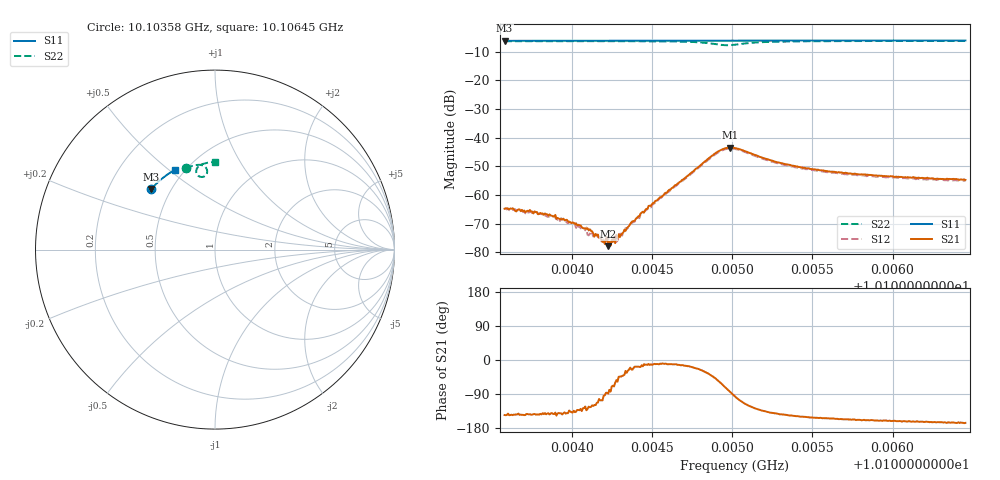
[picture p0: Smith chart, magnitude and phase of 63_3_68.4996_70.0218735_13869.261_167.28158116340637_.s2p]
#  HZ  S  RI  R  50.00
! Rohde & Schwarz Vector Network Analyzer
! Rohde-Schwarz,ZNB20-2Port,1311601062101988,3.16
! Created: UTC 3/20/2024, 4:51:20 PM
! freq[Hz]  re:S11  im:S11  re:S21  im:S21  re:S12  im:S12  re:S22  im:S22
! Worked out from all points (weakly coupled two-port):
!   401 points, 10.10358 GHz to 10.10645 GHz, reference 50 ohm
!   highest |S21| = -43.41 dB at 10.10499 GHz (marker M1); lowest = -77.8 dB at 10.10423 GHz (marker M2)
!   lowest |S11| = -6.2 dB at 10.10358 GHz (marker M3), VSWR 2.92, Z = 19.5 + j17.3 ohm
!   |S11| at or under -10 dB: nowhere
!   |S22| runs from -7.7 to -6.2 dB; largest |S21 - S12| = 0.00067
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1.0103583e10  -0.3556 0.3373  -0.000476 -0.000331  -0.000451 -0.000386  -0.1622 0.4543
1.010374e10  -0.3492 0.3445  -0.00044 -0.000331  -0.000395 -0.000324  -0.1519 0.4583
1.0103805e10  -0.3464 0.3474  -0.000386 -0.0003  -0.000343 -0.000329  -0.1477 0.4598
1.0103848e10  -0.3447 0.3494  -0.000361 -0.000289  -0.000302 -0.00029  -0.1446 0.4609
1.0103949e10  -0.3405 0.3539  -0.0003 -0.000248  -0.00026 -0.00028  -0.1379 0.4632
1.0104064e10  -0.3357 0.3588  -0.000194 -0.000196  -0.000161 -0.000221  -0.1296 0.4656
1.0104114e10  -0.3335 0.3612  -0.000144 -0.000209  -0.0001 -0.000186  -0.126 0.4666
1.0104164e10  -0.3313 0.3634  -7.77e-05 -0.00019  -5.33e-05 -0.000177  -0.1222 0.4676
1.01042e10  -0.3298 0.3648  -1.16e-05 -0.000162  2.89e-06 -0.000169  -0.1195 0.4682
1.0104229e10  -0.3286 0.366  2.78e-06 -0.000129  3.83e-05 -0.000177  -0.1172 0.4688
1.0104243e10  -0.3279 0.3666  1.55e-05 -0.00013  3.9e-05 -0.000146  -0.116 0.4692
1.0104286e10  -0.326 0.3685  9.51e-05 -0.000148  0.000111 -0.000116  -0.1124 0.4696
1.0104444e10  -0.3191 0.3751  0.000492 -0.000149  0.000479 -8.21e-05  -0.0985 0.4718
1.0104545e10  -0.3145 0.3794  0.000853 -0.000173  0.00085 -8.45e-05  -0.0881 0.4722
1.0104896e10  -0.2983 0.393  0.00358 -0.00403  0.00375 -0.00354  -0.0442 0.4278
1.0104939e10  -0.2961 0.3944  0.00271 -0.00568  0.00309 -0.00521  -0.0548 0.4113
1.010499e10  -0.294 0.3963  0.000567 -0.00673  0.0011 -0.00637  -0.0782 0.4047
1.0105018e10  -0.2927 0.3974  -0.000767 -0.00659  -0.00015 -0.00637  -0.0908 0.4094
1.0105277e10  -0.2805 0.4072  -0.00294 -0.00238  -0.00264 -0.00249  -0.0904 0.4648
1.0105499e10  -0.2696 0.4152  -0.00251 -0.00135  -0.00229 -0.0015  -0.0691 0.4768
1.010598e10  -0.2453 0.4313  -0.00197 -0.000718  -0.00187 -0.000859  -0.0316 0.4859
1.0106454e10  -0.2207 0.4458  -0.00179 -0.000445  -0.00169 -0.000603  0.00141 0.4888
